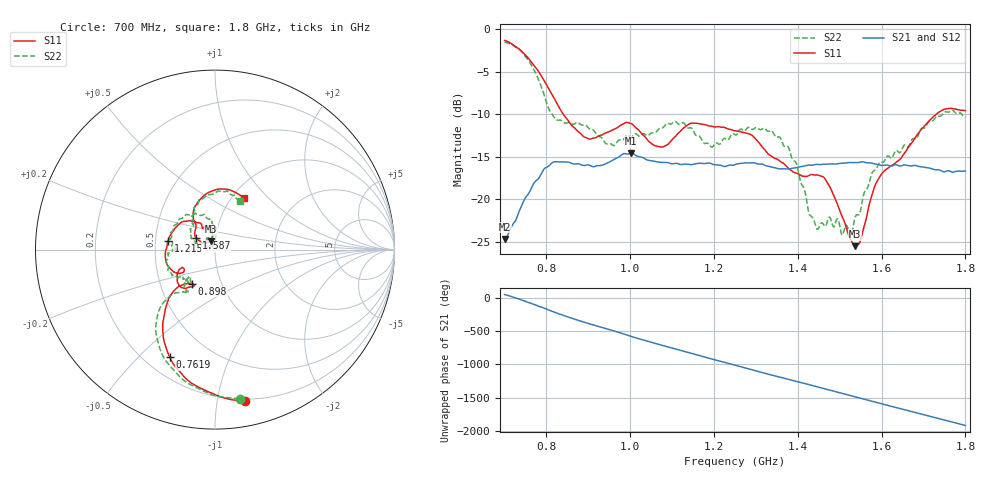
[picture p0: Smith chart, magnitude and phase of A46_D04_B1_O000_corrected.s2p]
! Created with skrf 1.9.0 (http://scikit-rf.org).
# Hz S RI R 50.0
!freq ReS11 ImS11 ReS21 ImS21 ReS12 ImS12 ReS22 ImS22
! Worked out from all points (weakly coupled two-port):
!   1601 points, 700 MHz to 1.8 GHz, reference 50 ohm
!   highest |S21| = -14.58 dB at 1.002 GHz (marker M1); lowest = -24.6 dB at 700.7 MHz (marker M2)
!   lowest |S11| = -25.5 dB at 1.537 GHz (marker M3), VSWR 1.11, Z = 47.4 + j4.48 ohm
!   |S11| at or under -10 dB: 840.1 MHz to 1.73 GHz (889.7 MHz wide, 69.2 % of centre)
!   |S22| runs from -24.3 to -1.5 dB; largest |S21 - S12| = 0.0034
!   S11 on the Smith chart (normalised r, x): 700 MHz: 0.19, -1.20; 761.9 MHz: 0.30, -0.62; 898 MHz: 0.73, -0.29; 1.215 GHz: 0.58, +0.06; 1.587 GHz: 0.80, +0.11; 1.8 GHz: 1.13, +0.74
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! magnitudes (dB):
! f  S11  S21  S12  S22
! 700 MHz  -1.3  -24.6  -24.4  -1.5
! 700.7 MHz  -1.3  -24.6  -24.3  -1.5
! 761.9 MHz  -3.7  -18.9  -18.8  -4.0
! 818.9 MHz  -8.2  -15.6  -15.7  -10.4
! 883.6 MHz  -12.4  -15.9  -15.8  -11.3
! 898 MHz  -12.8  -15.9  -16.0  -11.5
! 958.5 MHz  -11.8  -15.4  -15.4  -13.6
! 1.002 GHz  -11.1  -14.6  -14.7  -12.7
! 1.067 GHz  -13.8  -15.6  -15.6  -11.8
! 1.144 GHz  -11.1  -15.9  -15.9  -11.6
! 1.215 GHz  -11.5  -16.0  -16.0  -13.5
! 1.25 GHz  -11.9  -15.9  -15.8  -12.4
! 1.357 GHz  -15.5  -16.4  -16.4  -12.7
! 1.396 GHz  -16.9  -16.3  -16.3  -15.7
! 1.434 GHz  -17.1  -16.0  -15.9  -22.0
! 1.469 GHz  -17.9  -15.9  -15.8  -22.8
! 1.526 GHz  -24.6  -15.7  -15.6  -24.3
! 1.537 GHz  -25.5  -15.7  -15.7  -22.1
! 1.587 GHz  -18.1  -15.9  -15.9  -16.4
! 1.617 GHz  -16.3  -16.0  -16.0  -14.9
! 1.733 GHz  -9.9  -16.5  -16.5  -10.2
! 1.8 GHz  -9.6  -16.7  -16.7  -10.3
